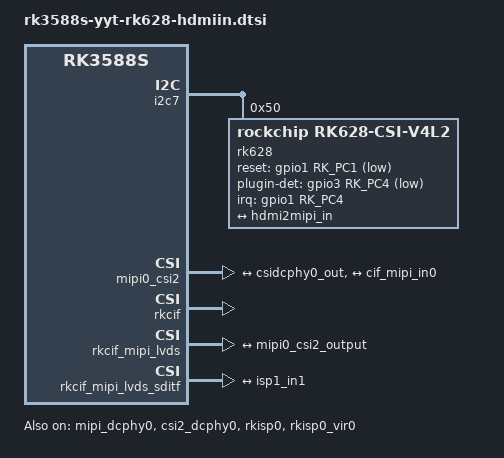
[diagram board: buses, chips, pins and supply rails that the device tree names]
&i2c7 {
    status = "okay";
    pinctrl-names = "default";
    pinctrl-0 = <&i2c7m0_xfer>;


    rk628: rk628@50 {
                compatible = "rockchip,rk628-csi-v4l2";
                reg = <0x50>;
                //clocks = <&ext_cam_clk>;
                //clock-names = "xvclk";

                interrupt-parent = <&gpio1>;
                interrupts = <RK_PC4 IRQ_TYPE_LEVEL_HIGH>;
                pinctrl-names = "default";
                pinctrl-0 = <&rk628_irq>;
                //power-gpios = <&gpio0 RK_PD5 GPIO_ACTIVE_HIGH>;
                reset-gpios = <&gpio1 RK_PC1 GPIO_ACTIVE_LOW>;
                plugin-det-gpios = <&gpio3 RK_PC4 GPIO_ACTIVE_LOW>;
                rockchip,camera-module-index = <0>;
                rockchip,camera-module-facing = "back";
                rockchip,camera-module-name = "RK628-CSI";
                rockchip,camera-module-lens-name = "NC";
                port {
                        rk628_out: endpoint {
                                remote-endpoint = <&hdmi2mipi_in>;
                                data-lanes = <1 2 3 4>;
                       };
                };
    };
};


&mipi_dcphy0 {
        status = "okay";
};

&mipi_dcphy1 {
        status = "disabled";
};

&csi2_dcphy0 {
        status = "okay";

        ports {
                #address-cells = <1>;
                #size-cells = <0>;
                port@0 {
                        reg = <0>;
                        #address-cells = <1>;
                        #size-cells = <0>;

                        hdmi2mipi_in: endpoint@1 {
                                reg = <1>;
                                remote-endpoint = <&rk628_out>;
                                data-lanes = <1 2 3 4>;
                        };
                };
                port@1 {
                        reg = <1>;
                        #address-cells = <1>;
                        #size-cells = <0>;

                        csidcphy0_out: endpoint@0 {
                                reg = <0>;
                                remote-endpoint = <&mipi0_csi2_input>;
                        };
                };
        };
};

&csi2_dcphy1 {
        status = "disabled";

        ports {
                #address-cells = <1>;
                #size-cells = <0>;
                port@0 {
                        reg = <0>;
                        #address-cells = <1>;
                        #size-cells = <0>;

                        mipi_in_dcphy1: endpoint@1 {
                                reg = <1>;
                                remote-endpoint = <&rk628_out>;
                                data-lanes = <1 2 3 4>;
                        };
                };
                port@1 {
                        reg = <1>;
                        #address-cells = <1>;
                        #size-cells = <0>;

                        csidcphy1_out: endpoint@0 {
                                reg = <0>;
                                remote-endpoint = <&mipi1_csi2_input>;
                        };
                };
        };
};


&mipi0_csi2 {
        status = "okay";

        ports {
                #address-cells = <1>;
                #size-cells = <0>;

                port@0 {
                        reg = <0>;
                        #address-cells = <1>;
                        #size-cells = <0>;

                        mipi0_csi2_input: endpoint@1 {
                                reg = <1>;
                                remote-endpoint = <&csidcphy0_out>;
                        };
                };

                port@1 {
                        reg = <1>;
                        #address-cells = <1>;
                        #size-cells = <0>;

                        mipi0_csi2_output: endpoint@0 {
                                reg = <0>;
                                remote-endpoint = <&cif_mipi_in0>;
                        };
                };
        };
};

&mipi1_csi2 {
        status = "disabled";

        ports {
                #address-cells = <1>;
                #size-cells = <0>;

                port@0 {
                        reg = <0>;
                        #address-cells = <1>;
                        #size-cells = <0>;

                        mipi1_csi2_input: endpoint@1 {
                                reg = <1>;
                                remote-endpoint = <&csidcphy1_out>;
                        };
                };

                port@1 {
                        reg = <1>;
                        #address-cells = <1>;
                        #size-cells = <0>;

                        mipi1_csi2_output: endpoint@0 {
                                reg = <0>;
                                remote-endpoint = <&cif_mipi_in1>;
                        };
                };
        };
};

&rkcif {
        status = "okay";
};

&rkcif_mipi_lvds {
        status = "okay";

        port {
                cif_mipi_in0: endpoint {
                        remote-endpoint = <&mipi0_csi2_output>;
                };
        };
};

&rkcif_mipi_lvds_sditf {
        status = "okay";

        port {
                mipi_lvds_sditf: endpoint {
                        remote-endpoint = <&isp1_in1>;
                };
        };
};

&rkcif_mipi_lvds1 {
        status = "disabled";

        port {
                cif_mipi_in1: endpoint {
                        remote-endpoint = <&mipi1_csi2_output>;
                };
        };
};

&rkcif_mipi_lvds1_sditf {
        status = "disabled";

        port {
                mipi1_lvds_sditf: endpoint {
                        remote-endpoint = <&isp1_in1>;
                };
        };
};

&rkcif_mmu {
        status = "okay";
};

&rkisp0 {
 status = "okay";
};

&isp0_mmu {
 status = "okay";
};

&rkisp0_vir0 {
    status = "okay";

    port {
        #address-cells = <1>;
        #size-cells = <0>;

        isp1_in1: endpoint@1 {
                        reg = <1>;
                        remote-endpoint = <&mipi_lvds_sditf>;
                };
    };
};


&pinctrl {
        hdmiin {
                rk628_irq: rk628-irq {
                        rockchip,pins = <1 RK_PC1 RK_FUNC_GPIO &pcfg_pull_none>,
                                        <1 RK_PC4 RK_FUNC_GPIO &pcfg_pull_none>;
                };
        };
};
